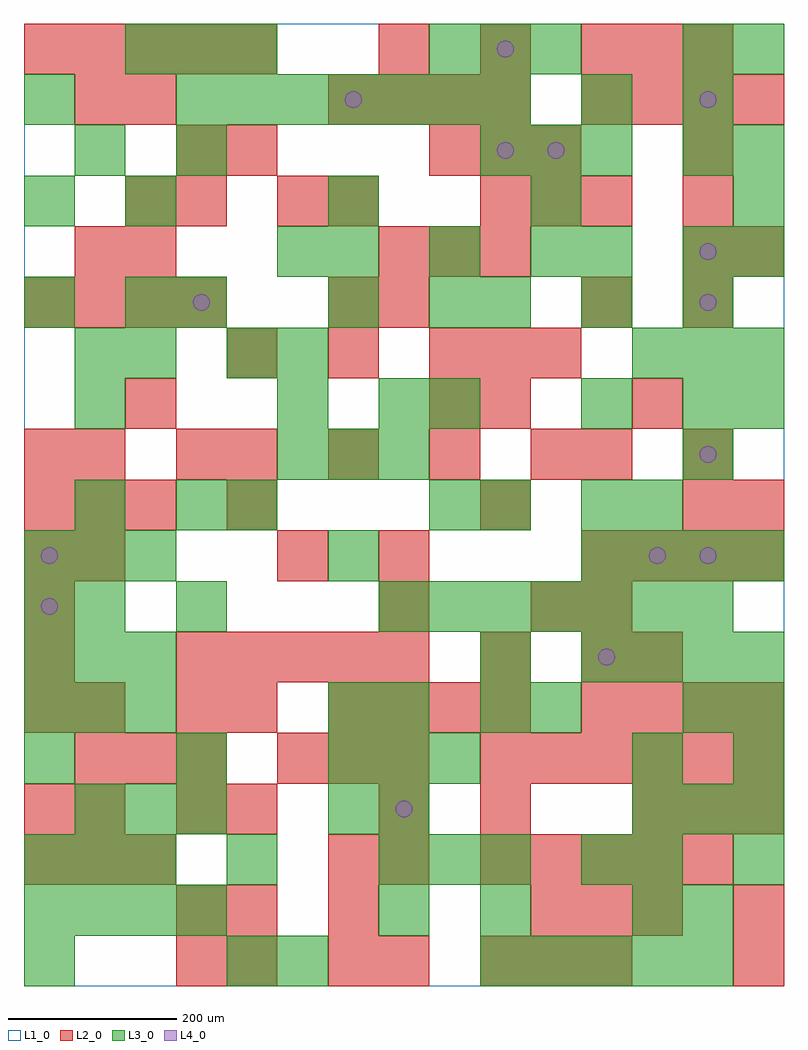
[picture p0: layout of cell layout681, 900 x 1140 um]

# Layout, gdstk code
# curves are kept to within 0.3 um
import gdstk
lib = gdstk.Library(unit=1e-6, precision=1e-09)
def R(c, l, rs):  # rectangles x0, y0, x1, y1
    for r in rs: c.add(gdstk.rectangle(r[:2], r[2:], *l))
def A(c, l, x, y, w, h, nx, ny, dx, dy):  # array of equal rectangles
    R(c, l, [(x+i*dx, y+j*dy, x+i*dx+w, y+j*dy+h) for i in range(nx) for j in range(ny)])
def P(c, l, *ps):  # polygons
    for p in ps: c.add(gdstk.Polygon(p, *l))
L1_0 = (1, 0)
L2_0 = (2, 0)
L3_0 = (3, 0)
L4_0 = (4, 0)

layout681 = lib.new_cell('layout681')
R(layout681, L1_0, [(0,0,900,1140)])
A(layout681, L2_0, 360, 0, 60, 60, 1, 3, 0, 60)
A(layout681, L2_0, 540, 0, 60, 60, 3, 2, 60, 900)
A(layout681, L2_0, 180, 60, 60, 60, 1, 3, 0, 120)
A(layout681, L2_0, 240, 60, 60, 60, 1, 3, 0, 120)
A(layout681, L2_0, 600, 60, 60, 60, 3, 1, 60, 0)
A(layout681, L2_0, 0, 120, 60, 60, 3, 2, 60, 420)
A(layout681, L2_0, 540, 120, 60, 60, 5, 1, 60, 0)
A(layout681, L2_0, 540, 180, 60, 60, 1, 3, 0, 180)
A(layout681, L2_0, 720, 180, 60, 60, 3, 1, 60, 0)
A(layout681, L2_0, 60, 240, 60, 60, 3, 1, 60, 0)
A(layout681, L2_0, 300, 240, 60, 60, 3, 1, 60, 0)
A(layout681, L2_0, 540, 240, 60, 60, 6, 1, 60, 0)
A(layout681, L2_0, 0, 300, 60, 60, 1, 4, 0, 60)
A(layout681, L2_0, 360, 300, 60, 60, 4, 2, 60, 720)
A(layout681, L2_0, 660, 300, 60, 60, 4, 2, 60, 180)
A(layout681, L2_0, 180, 360, 60, 60, 5, 1, 60, 0)
A(layout681, L2_0, 660, 420, 60, 60, 1, 3, 0, 180)
A(layout681, L2_0, 240, 600, 60, 60, 4, 1, 120, 0)
A(layout681, L2_0, 240, 720, 60, 60, 3, 1, 120, 0)
A(layout681, L2_0, 0, 780, 60, 60, 4, 1, 60, 0)
A(layout681, L2_0, 780, 780, 60, 60, 1, 4, 0, 60)
A(layout681, L2_0, 420, 840, 60, 60, 3, 1, 60, 0)
A(layout681, L2_0, 480, 960, 60, 60, 3, 1, 60, 0)
A(layout681, L2_0, 660, 1020, 60, 60, 4, 1, 60, 0)
A(layout681, L2_0, 0, 1080, 60, 60, 5, 1, 60, 0)
A(layout681, L2_0, 420, 1080, 60, 60, 3, 1, 120, 0)
R(layout681, L2_0, [(180,0,240,60), (240,0,300,60), (420,0,480,60), (840,0,900,60), (840,60,900,120), (420,120,480,180), (0,180,60,240), (60,180,120,240), (420,180,480,240), (60,300,120,360), (660,360,720,420), (720,360,780,420), (420,420,480,480), (600,420,660,480), (60,480,120,540), (300,480,360,540), (420,480,480,540), (240,540,300,600), (780,540,840,600), (840,540,900,600), (0,600,60,660), (60,600,120,660), (180,600,240,660), (780,600,840,660), (120,660,180,720), (480,660,540,720), (540,660,600,720), (720,660,780,720), (540,720,600,780), (600,720,660,780), (360,780,420,840), (420,780,480,840), (60,840,120,900), (120,840,180,900), (840,840,900,900), (120,900,180,960), (180,900,240,960), (300,900,360,960), (360,900,420,960), (180,960,240,1020), (240,960,300,1020), (60,1020,120,1080), (120,1020,180,1080), (720,1080,780,1140), (780,1080,840,1140)])
A(layout681, L3_0, 540, 0, 60, 60, 5, 1, 60, 0)
A(layout681, L3_0, 0, 60, 60, 60, 4, 1, 60, 0)
A(layout681, L3_0, 0, 120, 60, 60, 3, 2, 60, 180)
A(layout681, L3_0, 420, 120, 60, 60, 3, 1, 60, 0)
A(layout681, L3_0, 60, 180, 60, 60, 3, 1, 60, 0)
A(layout681, L3_0, 420, 180, 60, 60, 1, 3, 0, 60)
A(layout681, L3_0, 720, 180, 60, 60, 3, 2, 60, 540)
A(layout681, L3_0, 0, 240, 60, 60, 3, 1, 180, 0)
A(layout681, L3_0, 0, 360, 60, 60, 3, 2, 60, 120)
A(layout681, L3_0, 660, 360, 60, 60, 4, 2, 60, 120)
A(layout681, L3_0, 60, 420, 60, 60, 1, 3, 0, 120)
A(layout681, L3_0, 420, 420, 60, 60, 7, 1, 60, 0)
A(layout681, L3_0, 480, 540, 60, 60, 1, 3, 0, 120)
A(layout681, L3_0, 300, 600, 60, 60, 3, 1, 60, 0)
A(layout681, L3_0, 660, 660, 60, 60, 1, 3, 0, 180)
A(layout681, L3_0, 0, 780, 60, 60, 1, 3, 0, 120)
A(layout681, L3_0, 540, 780, 60, 60, 3, 1, 120, 0)
A(layout681, L3_0, 360, 840, 60, 60, 3, 1, 120, 0)
A(layout681, L3_0, 840, 840, 60, 60, 1, 3, 0, 120)
A(layout681, L3_0, 120, 900, 60, 60, 4, 1, 240, 0)
A(layout681, L3_0, 540, 960, 60, 60, 3, 1, 60, 0)
A(layout681, L3_0, 780, 960, 60, 60, 1, 3, 0, 60)
A(layout681, L3_0, 180, 1020, 60, 60, 7, 1, 60, 0)
A(layout681, L3_0, 120, 1080, 60, 60, 3, 1, 60, 0)
A(layout681, L3_0, 480, 1080, 60, 60, 3, 1, 60, 0)
R(layout681, L3_0, [(0,0,60,60), (240,0,300,60), (300,0,360,60), (420,60,480,120), (540,60,600,120), (720,60,780,120), (780,60,840,120), (240,120,300,180), (660,120,720,180), (720,120,780,180), (840,120,900,180), (360,180,420,240), (480,240,540,300), (720,240,780,300), (840,240,900,300), (360,300,420,360), (540,300,600,360), (600,300,660,360), (780,300,840,360), (840,300,900,360), (540,360,600,420), (0,420,60,480), (180,420,240,480), (360,480,420,540), (180,540,240,600), (240,540,300,600), (540,540,600,600), (660,540,720,600), (720,540,780,600), (780,600,840,660), (300,660,360,720), (420,660,480,720), (780,660,840,720), (840,660,900,720), (60,720,120,780), (120,720,180,780), (240,720,300,780), (300,720,360,780), (120,780,180,840), (180,780,240,840), (360,780,420,840), (300,840,360,900), (780,840,840,900), (60,960,120,1020), (180,960,240,1020)])
P(layout681, L4_0, [(40,450),(39.239,453.827),(37.071,457.071),(33.827,459.239),(30,460),(26.173,459.239),(22.929,457.071),(20.761,453.827),(20,450),(20.761,446.173),(22.929,442.929),(26.173,440.761),(30,440),(33.827,440.761),(37.071,442.929),(39.239,446.173)],
  [(40,510),(39.239,513.827),(37.071,517.071),(33.827,519.239),(30,520),(26.173,519.239),(22.929,517.071),(20.761,513.827),(20,510),(20.761,506.173),(22.929,502.929),(26.173,500.761),(30,500),(33.827,500.761),(37.071,502.929),(39.239,506.173)],
  [(220,810),(219.239,813.827),(217.071,817.071),(213.827,819.239),(210,820),(206.173,819.239),(202.929,817.071),(200.761,813.827),(200,810),(200.761,806.173),(202.929,802.929),(206.173,800.761),(210,800),(213.827,800.761),(217.071,802.929),(219.239,806.173)],
  [(400,1050),(399.239,1053.827),(397.071,1057.071),(393.827,1059.239),(390,1060),(386.173,1059.239),(382.929,1057.071),(380.761,1053.827),(380,1050),(380.761,1046.173),(382.929,1042.929),(386.173,1040.761),(390,1040),(393.827,1040.761),(397.071,1042.929),(399.239,1046.173)],
  [(460,210),(459.239,213.827),(457.071,217.071),(453.827,219.239),(450,220),(446.173,219.239),(442.929,217.071),(440.761,213.827),(440,210),(440.761,206.173),(442.929,202.929),(446.173,200.761),(450,200),(453.827,200.761),(457.071,202.929),(459.239,206.173)],
  [(580,990),(579.239,993.827),(577.071,997.071),(573.827,999.239),(570,1000),(566.173,999.239),(562.929,997.071),(560.761,993.827),(560,990),(560.761,986.173),(562.929,982.929),(566.173,980.761),(570,980),(573.827,980.761),(577.071,982.929),(579.239,986.173)],
  [(580,1110),(579.239,1113.827),(577.071,1117.071),(573.827,1119.239),(570,1120),(566.173,1119.239),(562.929,1117.071),(560.761,1113.827),(560,1110),(560.761,1106.173),(562.929,1102.929),(566.173,1100.761),(570,1100),(573.827,1100.761),(577.071,1102.929),(579.239,1106.173)],
  [(640,990),(639.239,993.827),(637.071,997.071),(633.827,999.239),(630,1000),(626.173,999.239),(622.929,997.071),(620.761,993.827),(620,990),(620.761,986.173),(622.929,982.929),(626.173,980.761),(630,980),(633.827,980.761),(637.071,982.929),(639.239,986.173)],
  [(700,390),(699.239,393.827),(697.071,397.071),(693.827,399.239),(690,400),(686.173,399.239),(682.929,397.071),(680.761,393.827),(680,390),(680.761,386.173),(682.929,382.929),(686.173,380.761),(690,380),(693.827,380.761),(697.071,382.929),(699.239,386.173)],
  [(760,510),(759.239,513.827),(757.071,517.071),(753.827,519.239),(750,520),(746.173,519.239),(742.929,517.071),(740.761,513.827),(740,510),(740.761,506.173),(742.929,502.929),(746.173,500.761),(750,500),(753.827,500.761),(757.071,502.929),(759.239,506.173)],
  [(820,510),(819.239,513.827),(817.071,517.071),(813.827,519.239),(810,520),(806.173,519.239),(802.929,517.071),(800.761,513.827),(800,510),(800.761,506.173),(802.929,502.929),(806.173,500.761),(810,500),(813.827,500.761),(817.071,502.929),(819.239,506.173)],
  [(820,630),(819.239,633.827),(817.071,637.071),(813.827,639.239),(810,640),(806.173,639.239),(802.929,637.071),(800.761,633.827),(800,630),(800.761,626.173),(802.929,622.929),(806.173,620.761),(810,620),(813.827,620.761),(817.071,622.929),(819.239,626.173)],
  [(820,810),(819.239,813.827),(817.071,817.071),(813.827,819.239),(810,820),(806.173,819.239),(802.929,817.071),(800.761,813.827),(800,810),(800.761,806.173),(802.929,802.929),(806.173,800.761),(810,800),(813.827,800.761),(817.071,802.929),(819.239,806.173)],
  [(820,870),(819.239,873.827),(817.071,877.071),(813.827,879.239),(810,880),(806.173,879.239),(802.929,877.071),(800.761,873.827),(800,870),(800.761,866.173),(802.929,862.929),(806.173,860.761),(810,860),(813.827,860.761),(817.071,862.929),(819.239,866.173)],
  [(820,1050),(819.239,1053.827),(817.071,1057.071),(813.827,1059.239),(810,1060),(806.173,1059.239),(802.929,1057.071),(800.761,1053.827),(800,1050),(800.761,1046.173),(802.929,1042.929),(806.173,1040.761),(810,1040),(813.827,1040.761),(817.071,1042.929),(819.239,1046.173)])

lib.write_gds('layout681.gds')
